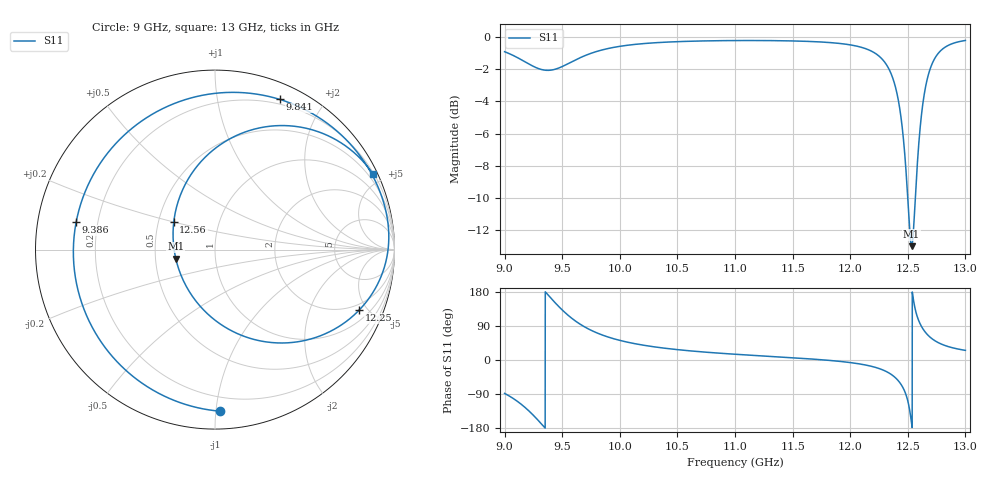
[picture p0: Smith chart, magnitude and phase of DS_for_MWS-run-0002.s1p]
! TOUCHSTONE file generated by CST DESIGN STUDIO
! Date and time: Tue Feb  4 14:32:38 2025
! Project name: C:\Work\MatlabApps\UnitCellOptimizationMatlab\CST\unitcell.cst
! Tree item: Tasks\Sweep1\SPara1\S-Parameters
! Header version: 2024
! Port assignment regex: !\s*Touchstone port\s*([0-9]+)\s*=\s*(CST MWS port|CST DES external port|CST DES block port)\s*(.+)\s* \(\"(.*)\"\)(\s*mode\s*([0-9]+))?.*
! Touchstone port assignment:
! Touchstone port 1 = CST DES external port 1 ("")
# GHz S MA R 50
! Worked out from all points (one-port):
!   4001 points, 9 GHz to 13 GHz, reference 50 ohm
!   lowest |S11| = -13.0 dB at 12.53 GHz (marker M1), VSWR 1.58, Z = 31.9 - j3.36 ohm
!   |S11| at or under -10 dB: 12.5 GHz to 12.57 GHz (65.7 MHz wide, 0.524 % of centre)
!   S11 on the Smith chart (normalised r, x): 9 GHz: 0.11, -1.03; 9.386 GHz: 0.12, +0.10; 9.841 GHz: 0.15, +1.51; 12.25 GHz: 1.59, -4.43; 12.56 GHz: 0.60, +0.20; 13 GHz: 0.25, +4.42
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9  0.9009 -88.1
9.1  0.8678 -106.7
9.188  0.8338 -128.0
9.295  0.7982 -160.4
9.386  0.7886 168.7
9.5  0.8101 132.1
9.569  0.8332 113.5
9.643  0.8587 97.0
9.841  0.9112 66.7
10  0.9361 51.8
10.216  0.9553 38.5
10.5  0.9679 27.4
11  0.9756 15.2
11.5  0.9729 5.9
12  0.946 -6.8
12.253  0.8711 -22.7
12.346  0.7829 -36.0
12.42  0.6305 -55.6
12.463  0.4788 -75.9
12.5  0.3143 -107.9
12.533  0.2242 -167.1
12.556  0.2756 146.6
12.581  0.3944 115.5
12.613  0.5489 91.8
12.673  0.7511 66.2
12.733  0.8572 51.3
12.801  0.9178 40.8
13  0.9763 25.4
